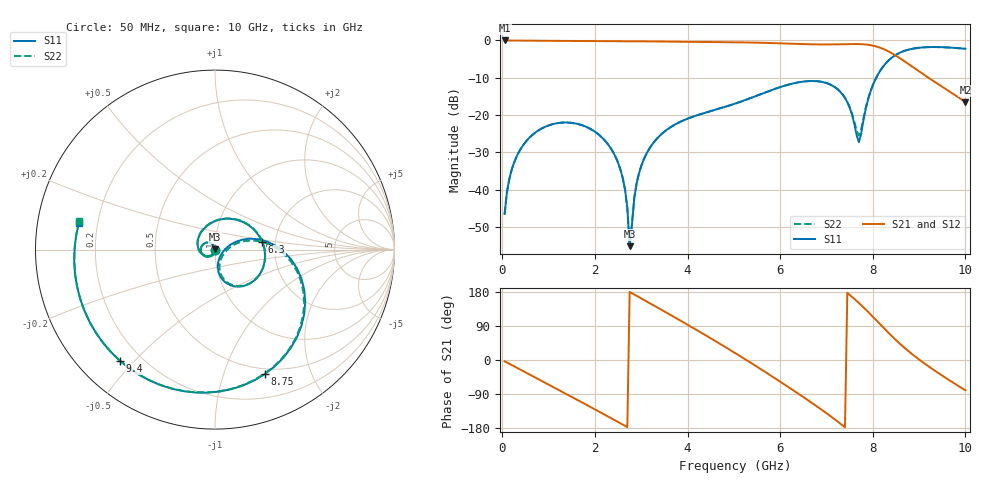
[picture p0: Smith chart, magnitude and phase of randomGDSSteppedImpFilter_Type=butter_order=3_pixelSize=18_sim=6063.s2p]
! freq	dB(S11)	phase(S11)	dB(S12)	phase(S12)
!  dB(S21)	phase(S21)	dB(S22)	phase(S22)
!S-par simulation data
#  GHz  S  DB  R 50
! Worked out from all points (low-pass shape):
!   200 points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, 50 MHz to 10 GHz, reference 50 ohm
!   highest |S21| = -0.01 dB at 50 MHz (marker M1); lowest = -16.5 dB at 10 GHz (marker M2)
!   |S21| within 3 dB of the highest: start of sweep to 8.349 GHz
!   lowest |S11| = -55.2 dB at 2.75 GHz (marker M3), VSWR 1.00, Z = 49.9 + j0.107 ohm
!   |S11| at or under -10 dB: start of sweep to 8.076 GHz
!   |S22| runs from -54.7 to -1.8 dB; largest |S21 - S12| = 0
!   S11 on the Smith chart (normalised r, x): 50 MHz: 1.00, -0.01; 6.3 GHz: 1.71, +0.15; 8.75 GHz: 0.44, -1.39; 9.4 GHz: 0.12, -0.46; 10 GHz: 0.13, +0.09
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0.05  -46.56 -85.7  -0.01 -3.3  -0.01 -3.3  -46.56 -85.7
0.2  -34.81 -101.3  -0.03 -13.1  -0.03 -13.1  -34.81 -101.3
0.55  -26.56 -125.7  -0.06 -35.8  -0.06 -35.8  -26.56 -125.8
1.15  -22.27 -165.3  -0.12 -74.7  -0.12 -74.7  -22.28 -165.7
1.75  -22.87 155.6  -0.16 -113.8  -0.16 -113.8  -22.87 154.8
2.5  -32.81 107.7  -0.20 -163.6  -0.20 -163.6  -32.82 103.0
2.65  -39.99 100.9  -0.21 -173.7  -0.21 -173.7  -40.00 89.0
2.75  -55.19 142.1  -0.22 179.6  -0.22 179.6  -54.69 32.2
2.95  -35.73 -108.9  -0.24 166.0  -0.24 166.0  -35.71 -100.3
3.4  -25.57 -137.3  -0.29 135.1  -0.29 135.1  -25.57 -134.0
4.2  -20.10 166.7  -0.38 78.9  -0.38 78.9  -20.10 169.2
5.05  -16.86 104.4  -0.49 16.6  -0.49 16.6  -16.86 106.5
5.65  -14.08 59.1  -0.64 -29.4  -0.64 -29.4  -14.08 60.7
6.3  -11.48 8.8  -0.90 -81.4  -0.90 -81.4  -11.47 10.2
6.7  -10.88 -22.6  -1.05 -114.5  -1.05 -114.5  -10.87 -21.2
7.35  -14.56 -73.3  -1.01 -172.8  -1.01 -172.8  -14.47 -70.7
7.7  -27.31 -31.2  -0.98 150.5  -0.98 150.5  -25.51 -31.3
7.95  -13.76 17.3  -1.26 120.7  -1.26 120.7  -13.66 14.2
8.35  -5.26 -24.3  -3.01 70.4  -3.01 70.4  -5.26 -25.5
8.75  -2.54 -68.0  -6.16 25.3  -6.16 25.3  -2.54 -68.9
9.4  -1.78 -130.5  -11.64 -33.2  -11.64 -33.2  -1.78 -131.3
10  -2.24 169.0  -16.55 -79.9  -16.55 -79.9  -2.25 168.0
